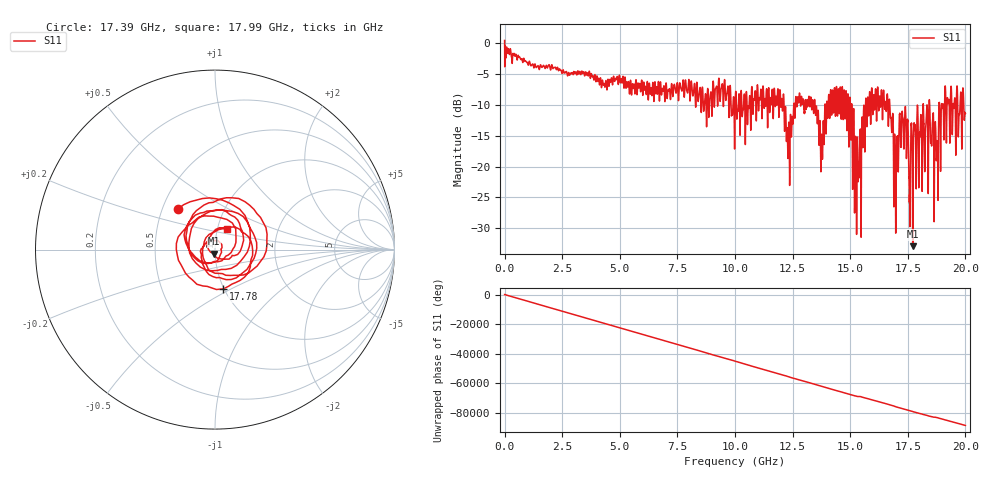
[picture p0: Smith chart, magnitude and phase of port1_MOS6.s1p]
! MS46122B
! 2250307/22442219
! 7/23/2025 7:51:36 AM
! C:\USERS\SPARKY\DOCUMENTS\VNA_DATA\JULY23_2025\3K\PORT1_MOS6.S1P
! CHANNEL.1
! TR.MEASUREMENT
! RAW.DATA
# GHZ S RI R 50.0
! FREQ.GHZ  S11RE  S11IM
!; PortSelection: Port_1
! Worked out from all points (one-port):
!   10001 points, 1 MHz to 20 GHz, reference 50 ohm
!   lowest |S11| = -32.9 dB at 17.71 GHz (marker M1), VSWR 1.05, Z = 49.4 - j2.18 ohm
!   |S11| at or under -10 dB: 13.47 GHz to 13.9 GHz (430.6 MHz wide, 3.15 % of centre); 15.07 GHz to 15.67 GHz (597.7 MHz wide, 3.89 % of centre); 16.72 GHz to 18.17 GHz (1.448 GHz wide, 8.3 % of centre) (the widest 3 of 85)
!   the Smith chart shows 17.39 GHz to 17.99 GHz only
!   S11 on the Smith chart (normalised r, x): 17.39 GHz: 0.60, +0.30; 17.78 GHz: 0.99, -0.46; 17.99 GHz: 1.11, +0.26
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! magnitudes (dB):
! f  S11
! 1 MHz  0.4
! 2.501 GHz  -4.9
! 5.001 GHz  -5.6
! 7.501 GHz  -6.4
! 9.373 GHz  -8.4
! 10 GHz  -11.8
! 11.78 GHz  -8.6
! 12.31 GHz  -17.3
! 12.5 GHz  -12.4
! 13.29 GHz  -8.9
! 13.73 GHz  -20.8
! 14.24 GHz  -7.6
! 15 GHz  -9.7
! 15.28 GHz  -24.3
! 16.02 GHz  -8.4
! 16.68 GHz  -10.9
! 16.98 GHz  -26.1
! 17.2 GHz  -16.1
! 17.39 GHz  -10.3
! 17.5 GHz  -12.7
! 17.64 GHz  -14.4
! 17.71 GHz  -32.9
! 17.78 GHz  -13.0
! 17.99 GHz  -17.5
! 18.51 GHz  -15.1
! 18.73 GHz  -16.8
! 19.05 GHz  -12.0
! 20 GHz  -11.4
